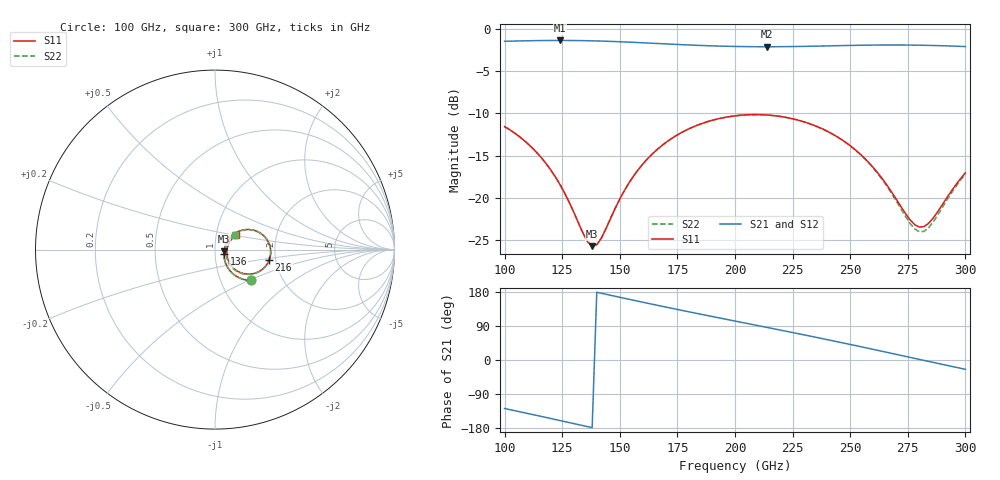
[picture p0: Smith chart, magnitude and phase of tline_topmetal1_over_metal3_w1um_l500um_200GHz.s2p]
#  GHZ S DB R 50
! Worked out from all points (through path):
!   101 points, 100 GHz to 300 GHz, reference 50 ohm
!   highest |S21| = -1.37 dB at 124 GHz (marker M1); lowest = -2.1 dB at 214 GHz (marker M2)
!   group delay of S21, straight-line fit = 3.52 ps
!   lowest |S11| = -25.7 dB at 138 GHz (marker M3), VSWR 1.11, Z = 55.3 - j1.11 ohm
!   |S11| at or under -10 dB: start of sweep to end of sweep
!   |S22| runs from -25.7 to -10.2 dB; largest |S21 - S12| = 9.8e-14
!   S11 on the Smith chart (normalised r, x): 100 GHz: 1.39, -0.51; 136 GHz: 1.10, -0.05; 216 GHz: 1.84, -0.24; 300 GHz: 1.25, +0.20
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100  -11.57 -40.5  -1.46 -128.0  -1.46 -128.0  -11.58 -40.5
114  -14.66 -51.9  -1.38 -146.4  -1.38 -146.4  -14.66 -51.9
124  -18.42 -54.5  -1.37 -159.7  -1.37 -159.7  -18.42 -54.6
134  -24.19 -35.5  -1.39 -173.1  -1.39 -173.1  -24.19 -35.5
136  -25.22 -24.7  -1.40 -175.8  -1.40 -175.8  -25.21 -24.7
138  -25.74 -11.2  -1.41 -178.5  -1.41 -178.5  -25.74 -11.2
142  -24.79 15.1  -1.44 176.1  -1.44 176.1  -24.78 15.0
150  -20.15 37.2  -1.52 165.5  -1.52 165.5  -20.15 37.2
156  -17.42 39.3  -1.59 157.6  -1.59 157.6  -17.42 39.2
168  -13.88 33.3  -1.75 142.2  -1.75 142.2  -13.88 33.2
184  -11.37 19.7  -1.95 122.2  -1.95 122.2  -11.37 19.5
200  -10.30 4.5  -2.08 102.8  -2.08 102.8  -10.30 4.3
214  -10.20 -9.0  -2.11 85.9  -2.11 85.9  -10.21 -9.3
216  -10.25 -10.9  -2.11 83.4  -2.11 83.4  -10.25 -11.2
234  -11.39 -27.7  -2.04 61.3  -2.04 61.3  -11.40 -28.2
252  -14.27 -41.8  -1.95 38.4  -1.95 38.4  -14.31 -42.7
260  -16.42 -44.9  -1.91 28.0  -1.91 28.0  -16.49 -46.1
268  -19.33 -42.2  -1.90 17.5  -1.90 17.5  -19.50 -43.9
278  -23.20 -17.2  -1.92 4.3  -1.92 4.3  -23.70 -18.5
282  -23.43 0.8  -1.94 -1.0  -1.94 -1.0  -23.99 1.0
286  -22.42 16.6  -1.96 -6.3  -1.96 -6.3  -22.88 18.0
300  -17.05 34.2  -2.09 -24.5  -2.09 -24.5  -17.20 35.7
